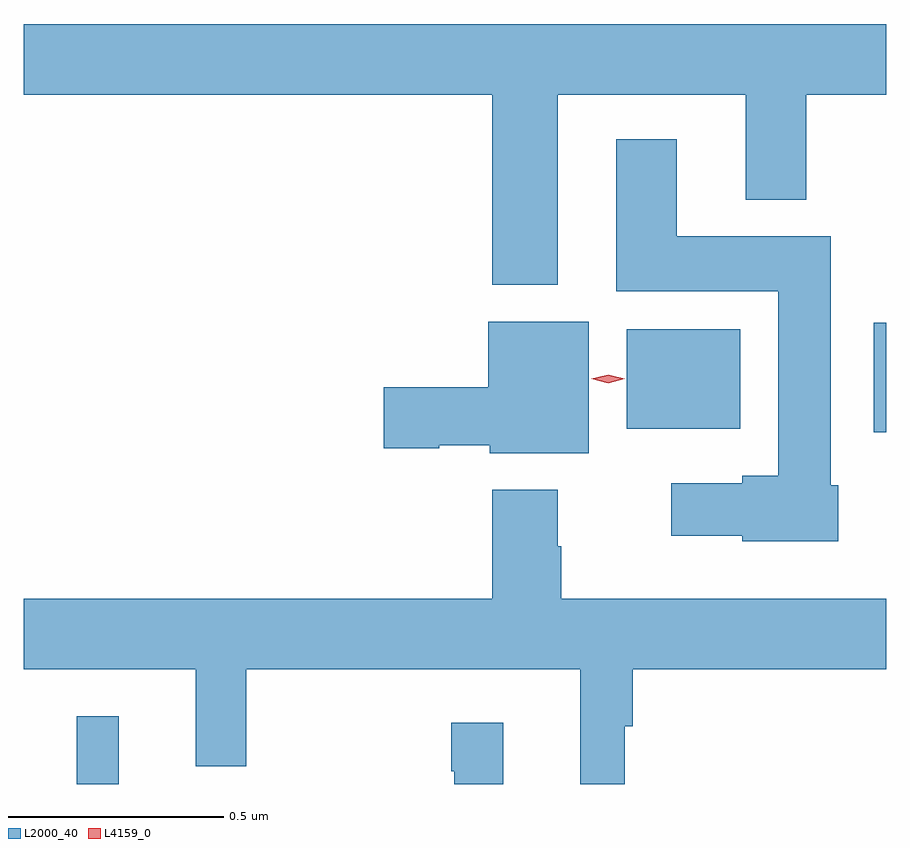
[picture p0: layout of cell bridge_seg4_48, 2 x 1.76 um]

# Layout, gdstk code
import gdstk
lib = gdstk.Library(unit=1e-6, precision=1e-09)
def R(c, l, rs):  # rectangles x0, y0, x1, y1
    for r in rs: c.add(gdstk.rectangle(r[:2], r[2:], *l))
def P(c, l, *ps):  # polygons
    for p in ps: c.add(gdstk.Polygon(p, *l))
L2000_40 = (2000, 40)
L4159_0 = (4159, 0)

bridge_seg4_48 = lib.new_cell('bridge_seg4_48')
R(bridge_seg4_48, L2000_40, [(744.71,829.854,744.807,830.011), (746.558,830.669,746.587,830.923), (745.985,830.678,746.248,830.908)])
P(bridge_seg4_48, L2000_40, [(745.825,831.452),(746.261,831.452),(746.261,831.209),(746.401,831.209),(746.401,831.452),(746.587,831.452),(746.587,831.616),(744.587,831.616),(744.587,831.452),(745.673,831.452),(745.673,831.011),(745.825,831.011)],
  [(746.476,830.547),(746.458,830.547),(746.458,831.124),(746.101,831.124),(746.101,831.349),(745.961,831.349),(745.961,830.996),(746.336,830.996),(746.336,830.569),(746.253,830.569),(746.253,830.551),(746.088,830.551),(746.088,830.429),(746.253,830.429),(746.253,830.417),(746.476,830.417)],
  [(745.897,830.926),(745.664,830.926),(745.664,830.774),(745.422,830.774),(745.422,830.632),(745.551,830.632),(745.551,830.639),(745.668,830.639),(745.668,830.621),(745.897,830.621)],
  [(745.833,830.405),(745.825,830.405),(745.825,830.536),(745.673,830.536),(745.673,830.284),(744.587,830.284),(744.587,830.12),(744.986,830.12),(744.986,829.895),(745.103,829.895),(745.103,830.12),(745.877,830.12),(745.877,829.854),(745.981,829.854),(745.981,829.988),(745.999,829.988),(745.999,830.12),(746.587,830.12),(746.587,830.284),(745.833,830.284)],
  [(745.699,829.996),(745.578,829.996),(745.578,829.883),(745.585,829.883),(745.585,829.854),(745.699,829.854)])
P(bridge_seg4_48, L4159_0, [(745.942,830.783),(745.903,830.793),(745.903,830.793),(745.903,830.793),(745.942,830.803),(745.98,830.793),(745.98,830.793),(745.98,830.793)])

lib.write_gds('bridge_seg4_48.gds')
